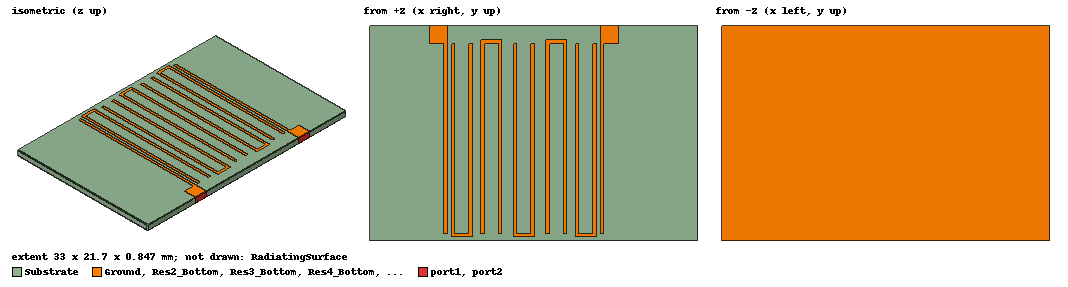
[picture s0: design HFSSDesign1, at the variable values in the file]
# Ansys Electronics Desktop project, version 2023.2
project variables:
  $t = 0.4mm  # tune 0.175mm..0.525mm
  $wh = 0.35mm
  $l = 19.1mm
  $k1 = 0.88mm
  $k2 = 1.17mm
  $g = 1.4mm
  $gap = 6mm
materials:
  vacuum: permittivity=1
  Rogers RO4003 (tm): permittivity=3.55 dielectric_loss_tangent=0.0027
  copper: permeability=0.999991 conductivity=58000000

design HFSSDesign1 (HFSS, HFSS Terminal Network, model units mm)
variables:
  t = 0.35mm
  g = 0.35mm
  k = 1mm
  del = 0.35mm
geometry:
  Substrate [Rogers RO4003 (tm)] = box(corner=(0mm, 0mm, 0mm), size=(33mm, 21.7mm, -0.813mm))
  Ground [copper] = box(corner=(0mm, 0mm, -0.813mm), size=(33mm, 21.7mm, -0.017mm))
  Feed_Line [copper] = box(corner=($gap, 21.7mm, 0mm), size=(1.82mm, -1.82mm, 0.017mm))
  Res1_left = box(corner=(1.82mm + $gap + $t, (21.7-1.82) mm, 0mm), size=($wh, -$l, 0.017mm))
  Res1_right = box(corner=(1.82mm + $gap + $t +$wh + $g, 19.88mm, 0mm), size=($wh, -$l, 0.017mm))
  Res1_Bottom [copper] = box(corner=(1.82mm + $gap + $t, 19.88mm - $l, 0mm), size=($g + 2*$wh, -$wh, 0.017mm))
  Res1_Bottom.unite(Res1_left, Res1_right)
  port1 = rectangle(corner=($gap, 21.7mm, 0mm), z_size=-0.813mm, x_size=1.82mm)
  RadiatingSurface [vacuum] = region(absolute_offset=20mm on all sides)
  Feed_Line1 [copper] = box(corner=(1.82mm + $gap + 2*$t + 10*$wh + 5 * $g +2* $k1 + 2*$k2, 21.7mm, 0mm), size=(1.82mm, -1.82mm, 0.017mm))
  port2 = rectangle(corner=(1.82mm + $gap+ 2*$t + 10*$wh + 5 * $g +2* $k1 + 2*$k2, 21.7mm, 0mm), z_size=-0.813mm, x_size=1.82mm)
  feed1_2 = box(corner=(1.82mm + $gap, (21.7-1.82) mm, 0mm), size=(-$wh, -$l, 0.017mm))
  Feed_Line.unite(feed1_2)
  feed2_2 = box(corner=(1.82mm + $gap + 2*$t + 10*$wh + 5 * $g +2* $k1 + 2*$k2, 19.88mm, 0mm), size=($wh, -$l, 0.017mm))
  Feed_Line1.unite(feed2_2)
  Res2_Bottom [copper] = box(corner=(1.82mm + $gap + $t  + $g + 2*$wh + $k1, 19.88mm, 0mm), size=($g + 2*$wh, $wh, 0.017mm))
  Res1_left1 = box(corner=(1.82mm + $gap + $t  + $g + 2*$wh + $k1, 19.88mm, 0mm), size=($wh, -$l, 0.017mm))
  Res1_right1 = box(corner=(1.82mm + $gap + $t  + 2 * $g + 3*$wh + $k1, 19.88mm, 0mm), size=($wh, -$l, 0.017mm))
  Res2_Bottom.unite(Res1_left1, Res1_right1)
  Res3_Bottom [copper] = box(corner=(1.82mm + $gap + $t + 2 * $g + 4*$wh  + $k1 + $k2, 19.88mm - $l, 0mm), size=($g + 2*$wh, -$wh, 0.017mm))
  Res1_left2 = box(corner=(1.82mm + $gap + $t  + 2 * $g + 4*$wh + $k1 + $k2, (21.7-1.82) mm, 0mm), size=($wh, -$l, 0.017mm))
  Res1_right2 = box(corner=(1.82mm + $gap + $t  + 3 * $g + 5*$wh + $k1 + $k2, (21.7-1.82) mm, 0mm), size=($wh, -$l, 0.017mm))
  Res3_Bottom.unite(Res1_left2, Res1_right2)
  Res4_Bottom [copper] = box(corner=(1.82mm + $gap + $t  +3* $g + 6*$wh + $k1 + 2 * $k2, 19.88mm, 0mm), size=($g + 2*$wh, $wh, 0.017mm))
  Res1_left3 = box(corner=(1.82mm + $gap + $t  +3* $g + 6*$wh + $k1 + 2 * $k2, 19.88mm, 0mm), size=($wh, -$l, 0.017mm))
  Res1_right3 = box(corner=(1.82mm + $gap + $t  +4* $g + 7*$wh + $k1 + 2 * $k2, 19.88mm, 0mm), size=($wh, -$l, 0.017mm))
  Res4_Bottom.unite(Res1_left3, Res1_right3)
  Res5_Bottom [copper] = box(corner=(1.82mm + $gap + $t + 4 * $g + 8*$wh  +2* $k1 + 2 * $k2, 19.88mm - $l, 0mm), size=($g + 2*$wh, -$wh, 0.017mm))
  Res1_left4 = box(corner=(1.82mm + $gap + $t + 4 * $g + 8*$wh  +2* $k1 + 2 * $k2, 19.88mm - $l, 0mm), size=($wh, $l, 0.017mm))
  Res1_right4 = box(corner=(1.82mm + $gap + $t  + 5 * $g + 9*$wh +2 * $k1 +2 * $k2, (21.7-1.82) mm, 0mm), size=($wh, -$l, 0.017mm))
  Res5_Bottom.unite(Res1_left4, Res1_right4)
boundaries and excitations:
  Rad1: Radiation Objects=RadiatingSurface
  1: Lumped Port Objects=port1 LumpedPortType=Modal Modes{Mode1{IntLine{(6900mm, 21700mm, -800mm) -> (6.9, 21.7, 0)} CharImp=Zpi RenormImp=50ohm}} Impedance=50ohm
  2: Lumped Port Objects=port2 LumpedPortType=Modal Modes{Mode1{IntLine{(24140mm, 21700mm, -800mm) -> (24.14, 21.7, 0)} CharImp=Zpi RenormImp=50ohm}} Impedance=50ohm
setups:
  Setup1: HfssDriven Frequency=2.4GHz MaxDeltaS=0.02 MaximumPasses=12 MinimumPasses=1 MinimumConvergedPasses=1 PercentRefinement=30 BasisOrder=1 PortAccuracy=2 DrivenSolverType="Direct Solver"
    sweep Sweep: 1.4GHz to 3.4GHz, 1001 points; Type=Fast SaveFields
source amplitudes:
  1:1: 1V 0deg
  2:1: 0V 0deg
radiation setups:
  3D: Infinite Sphere Theta=0deg..180deg step 2deg Phi=-180deg..180deg step 2deg
  Elevation: Infinite Sphere Theta=-180deg..180deg step 1deg Phi=0deg..90deg step 90deg
  Azimuth: Infinite Sphere Theta=90deg..90deg step 0deg Phi=-180deg..180deg step 1deg
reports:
  S Parameter Plot 1: dB(S(1,1)), dB(S(2,1)) vs Freq on Setup1 : Sweep
